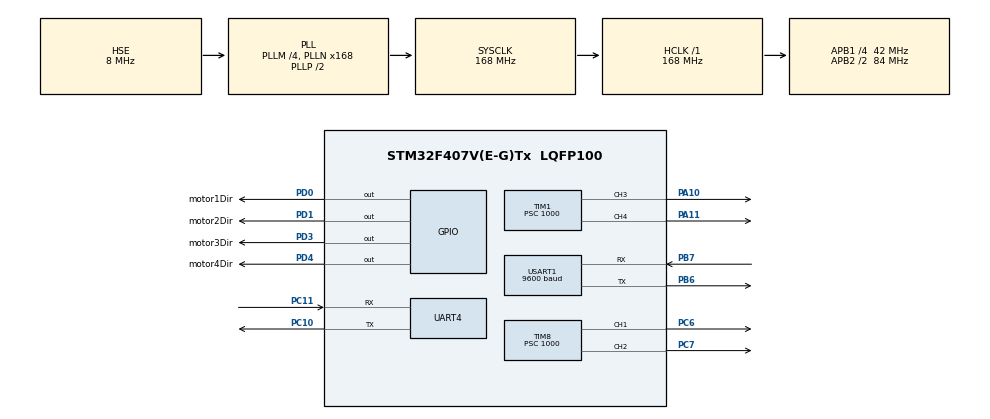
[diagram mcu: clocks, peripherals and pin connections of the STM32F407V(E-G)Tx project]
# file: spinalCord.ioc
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Dma.Request0=USART1_RX
Dma.USART1_RX.0.Direction=DMA_PERIPH_TO_MEMORY
Dma.USART1_RX.0.FIFOMode=DMA_FIFOMODE_DISABLE
Dma.USART1_RX.0.Instance=DMA2_Stream2
Dma.USART1_RX.0.MemDataAlignment=DMA_MDATAALIGN_BYTE
Dma.USART1_RX.0.MemInc=DMA_MINC_ENABLE
Dma.USART1_RX.0.Mode=DMA_CIRCULAR
Dma.USART1_RX.0.PeriphDataAlignment=DMA_PDATAALIGN_BYTE
Dma.USART1_RX.0.PeriphInc=DMA_PINC_DISABLE
Dma.USART1_RX.0.Priority=DMA_PRIORITY_LOW
Mcu.Family=STM32F4
Mcu.Name=STM32F407V(E-G)Tx
Mcu.Package=LQFP100
NVIC.DMA2_Stream2_IRQn=true\:0\:0\:false\:false\:true\:false\:true
NVIC.PriorityGroup=NVIC_PRIORITYGROUP_4
NVIC.UART4_IRQn=true\:0\:0\:false\:false\:true\:true\:true
NVIC.USART1_IRQn=true\:0\:0\:false\:false\:true\:true\:true
PA10.Signal=S_TIM1_CH3
PA11.Signal=S_TIM1_CH4
PB6.Mode=Asynchronous
PB6.Signal=USART1_TX
PB7.Mode=Asynchronous
PB7.Signal=USART1_RX
PC10.Mode=Asynchronous
PC10.Signal=UART4_TX
PC11.Mode=Asynchronous
PC11.Signal=UART4_RX
PC6.Signal=S_TIM8_CH1
PC7.Signal=S_TIM8_CH2
PD0.GPIO_Label=motor1Dir
PD0.Signal=GPIO_Output
PD1.GPIO_Label=motor2Dir
PD1.Signal=GPIO_Output
PD3.GPIO_Label=motor3Dir
PD3.Signal=GPIO_Output
PD4.GPIO_Label=motor4Dir
PD4.Signal=GPIO_Output
PH0-OSC_IN.Mode=HSE-External-Oscillator
PH0-OSC_IN.Signal=RCC_OSC_IN
PH1-OSC_OUT.Mode=HSE-External-Oscillator
PH1-OSC_OUT.Signal=RCC_OSC_OUT
ProjectManager.HeapSize=0x200
ProjectManager.StackSize=0x400
ProjectManager.TargetToolchain=STM32CubeIDE
RCC.48MHZClocksFreq_Value=84000000
RCC.AHBFreq_Value=168000000
RCC.APB1CLKDivider=RCC_HCLK_DIV4
RCC.APB1Freq_Value=42000000
RCC.APB1TimFreq_Value=84000000
RCC.APB2CLKDivider=RCC_HCLK_DIV2
RCC.APB2Freq_Value=84000000
RCC.APB2TimFreq_Value=168000000
RCC.CortexFreq_Value=168000000
RCC.HCLKFreq_Value=168000000
RCC.HSE_VALUE=8000000
RCC.HSI_VALUE=16000000
RCC.LSE_VALUE=32768
RCC.PLLM=4
RCC.PLLN=168
RCC.PLLSourceVirtual=RCC_PLLSOURCE_HSE
RCC.SYSCLKFreq_VALUE=168000000
RCC.SYSCLKSource=RCC_SYSCLKSOURCE_PLLCLK
RCC.VCOOutputFreq_Value=336000000
SH.S_TIM1_CH3.0=TIM1_CH3,PWM Generation3 CH3
SH.S_TIM1_CH4.0=TIM1_CH4,PWM Generation4 CH4
SH.S_TIM8_CH1.0=TIM8_CH1,PWM Generation1 CH1
SH.S_TIM8_CH2.0=TIM8_CH2,PWM Generation2 CH2
TIM1.BreakPolarity=TIM_BREAKPOLARITY_LOW
TIM1.Channel-PWM\ Generation3\ CH3=TIM_CHANNEL_3
TIM1.Channel-PWM\ Generation4\ CH4=TIM_CHANNEL_4
TIM1.OCPolarity_3=TIM_OCPOLARITY_LOW
TIM1.OCPolarity_4=TIM_OCPOLARITY_LOW
TIM1.Period=255
TIM1.Prescaler=1000
TIM8.BreakPolarity=TIM_BREAKPOLARITY_LOW
TIM8.Channel-PWM\ Generation1\ CH1=TIM_CHANNEL_1
TIM8.Channel-PWM\ Generation2\ CH2=TIM_CHANNEL_2
TIM8.OCPolarity_1=TIM_OCPOLARITY_LOW
TIM8.OCPolarity_2=TIM_OCPOLARITY_LOW
TIM8.Period=255
TIM8.Prescaler=1000
UART4.VirtualMode=Asynchronous
USART1.BaudRate=9600
USART1.VirtualMode=VM_ASYNC
VP_TIM1_VS_ClockSourceINT.Mode=Internal
board=custom

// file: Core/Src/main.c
/* USER CODE BEGIN Header */
/**
  ******************************************************************************
  * @file           : main.c
  * @brief          : Main program body
  ******************************************************************************
  * @attention
  *
  * <h2><center>&copy; Copyright (c) 2020 STMicroelectronics.
  * All rights reserved.</center></h2>
  *
  * This software component is licensed by ST under BSD 3-Clause license,
  * the "License"; You may not use this file except in compliance with the
  * License. You may obtain a copy of the License at:
  *                        opensource.org/licenses/BSD-3-Clause
  *
  ******************************************************************************
  */
/* USER CODE END Header */

#include "main.h"

/* USER CODE BEGIN Includes */
#include <stdlib.h>
/* USER CODE END Includes */

/* USER CODE BEGIN PD */
#define DRIVER_HY
#ifdef DRIVER_HY
uint16_t prescaler = 505;
#endif
#ifdef DRIVER_TGC
uint16_t prescaler = 83;
#endif
/* USER CODE END PD */

TIM_HandleTypeDef htim1;
TIM_HandleTypeDef htim8;

UART_HandleTypeDef huart4;
UART_HandleTypeDef huart1;
DMA_HandleTypeDef hdma_usart1_rx;

/* USER CODE BEGIN PV */
float a;
float b;
int tracking;
int16_t compassData;
int16_t i;
/* USER CODE END PV */

void SystemClock_Config(void);
static void MX_GPIO_Init(void);
static void MX_DMA_Init(void);
static void MX_USART1_UART_Init(void);
static void MX_TIM1_Init(void);
static void MX_TIM8_Init(void);
static void MX_UART4_Init(void);

/* USER CODE BEGIN 0 */
#include"DNL_SpinalCord_UART.h"
#include"DNL_SpinalCord_Motor.h"
#include"DNL_SpinalCord_Callback.h"
/* USER CODE END 0 */

int main(void)
{

  /* MCU Configuration--------------------------------------------------------*/

  /* Reset of all peripherals, Initializes the Flash interface and the Systick. */
  HAL_Init();

  /* Configure the system clock */
  SystemClock_Config();

  /* Initialize all configured peripherals */
  MX_GPIO_Init();
  MX_DMA_Init();
  MX_USART1_UART_Init();
  MX_TIM1_Init();
  MX_TIM8_Init();
  MX_UART4_Init();
  /* USER CODE BEGIN 2 */
  peripheralPWM_Init();
  peripheralUART_Init();
  HAL_Delay(INIT_TIME);
  /* USER CODE END 2 */

  /* Infinite loop */
  /* USER CODE BEGIN WHILE */
  while (1)
  {
	  ////////////////////////////////////////////////////////////////
//	  testPWM();

//	  brainRequest();
//	  brainGetData();
//	  controlMotor1(brainRxPacket[0], brainRxPacket[4]);
//	  controlMotor2(brainRxPacket[1], brainRxPacket[5]);
//	  controlMotor3(brainRxPacket[2], brainRxPacket[6]);
//	  controlMotor4(brainRxPacket[3], brainRxPacket[7]);

	  //OFFICIAL//////////////////////////////
	  controlMotor1(motor1Speed, motor1Dir);
	  controlMotor2(motor2Speed, motor2Dir);
	  controlMotor3(motor3Speed, motor3Dir);
	  controlMotor4(motor4Speed, motor4Dir);
	  /////////////////////////////////////////

//	  __HAL_TIM_SetCompare(&motor1, motor1_channel, 3);
//	  __HAL_TIM_SetCompare(&motor2, motor2_channel, 3);
//	  __HAL_TIM_SetCompare(&motor3, motor3_channel, 3);
//	  __HAL_TIM_SetCompare(&motor4, motor4_channel, 3);
//	  controlMotor1(3,0);
//	  controlMotor2(3,0);
//	  controlMotor3(3,0);
//	  controlMotor4(3,0);

//	  debugTxPacket[0] = motor1Speed;
//	  debugTxPacket[1] = motor2Speed;
//	  debugTxPacket[2] = motor3Speed;
//	  debugTxPacket[3] = motor4Speed;
//	  debugTxPacket[4] = motor1Dir;
//	  debugTxPacket[5] = motor2Dir;
//	  debugTxPacket[6] = motor3Dir;
//	  debugTxPacket[7] = motor4Dir;
//	  HAL_UART_Transmit(&huart4, debugTxPacket, 9, 50);
	  tracking++;
    /* USER CODE END WHILE */

  }
}

void SystemClock_Config(void)
{
  RCC_OscInitTypeDef RCC_OscInitStruct = {0};
  RCC_ClkInitTypeDef RCC_ClkInitStruct = {0};

  /** Configure the main internal regulator output voltage
  */
  __HAL_RCC_PWR_CLK_ENABLE();
  __HAL_PWR_VOLTAGESCALING_CONFIG(PWR_REGULATOR_VOLTAGE_SCALE1);
  /** Initializes the CPU, AHB and APB busses clocks
  */
  RCC_OscInitStruct.OscillatorType = RCC_OSCILLATORTYPE_HSE;
  RCC_OscInitStruct.HSEState = RCC_HSE_ON;
  RCC_OscInitStruct.PLL.PLLState = RCC_PLL_ON;
  RCC_OscInitStruct.PLL.PLLSource = RCC_PLLSOURCE_HSE;
  RCC_OscInitStruct.PLL.PLLM = 4;
  RCC_OscInitStruct.PLL.PLLN = 168;
  RCC_OscInitStruct.PLL.PLLP = RCC_PLLP_DIV2;
  RCC_OscInitStruct.PLL.PLLQ = 4;
  if (HAL_RCC_OscConfig(&RCC_OscInitStruct) != HAL_OK)
  {
    Error_Handler();
  }
  /** Initializes the CPU, AHB and APB busses clocks
  */
  RCC_ClkInitStruct.ClockType = RCC_CLOCKTYPE_HCLK|RCC_CLOCKTYPE_SYSCLK
                              |RCC_CLOCKTYPE_PCLK1|RCC_CLOCKTYPE_PCLK2;
  RCC_ClkInitStruct.SYSCLKSource = RCC_SYSCLKSOURCE_PLLCLK;
  RCC_ClkInitStruct.AHBCLKDivider = RCC_SYSCLK_DIV1;
  RCC_ClkInitStruct.APB1CLKDivider = RCC_HCLK_DIV4;
  RCC_ClkInitStruct.APB2CLKDivider = RCC_HCLK_DIV2;

  if (HAL_RCC_ClockConfig(&RCC_ClkInitStruct, FLASH_LATENCY_5) != HAL_OK)
  {
    Error_Handler();
  }
}

static void MX_TIM1_Init(void)
{

  TIM_ClockConfigTypeDef sClockSourceConfig = {0};
  TIM_MasterConfigTypeDef sMasterConfig = {0};
  TIM_OC_InitTypeDef sConfigOC = {0};
  TIM_BreakDeadTimeConfigTypeDef sBreakDeadTimeConfig = {0};

  htim1.Instance = TIM1;
  htim1.Init.Prescaler = 83;////////////////////////////////////////////////////////////////////////
  htim1.Init.CounterMode = TIM_COUNTERMODE_UP;
  htim1.Init.Period = 255;
  htim1.Init.ClockDivision = TIM_CLOCKDIVISION_DIV1;
  htim1.Init.RepetitionCounter = 0;
  htim1.Init.AutoReloadPreload = TIM_AUTORELOAD_PRELOAD_DISABLE;
  if (HAL_TIM_Base_Init(&htim1) != HAL_OK)
  {
    Error_Handler();
  }
  sClockSourceConfig.ClockSource = TIM_CLOCKSOURCE_INTERNAL;
  if (HAL_TIM_ConfigClockSource(&htim1, &sClockSourceConfig) != HAL_OK)
  {
    Error_Handler();
  }
  if (HAL_TIM_PWM_Init(&htim1) != HAL_OK)
  {
    Error_Handler();
  }
  sMasterConfig.MasterOutputTrigger = TIM_TRGO_RESET;
  sMasterConfig.MasterSlaveMode = TIM_MASTERSLAVEMODE_DISABLE;
  if (HAL_TIMEx_MasterConfigSynchronization(&htim1, &sMasterConfig) != HAL_OK)
  {
    Error_Handler();
  }
  sConfigOC.OCMode = TIM_OCMODE_PWM1;
  sConfigOC.Pulse = 0;
  sConfigOC.OCPolarity = TIM_OCPOLARITY_LOW;
  sConfigOC.OCNPolarity = TIM_OCNPOLARITY_HIGH;
  sConfigOC.OCFastMode = TIM_OCFAST_DISABLE;
  sConfigOC.OCIdleState = TIM_OCIDLESTATE_RESET;
  sConfigOC.OCNIdleState = TIM_OCNIDLESTATE_RESET;
  if (HAL_TIM_PWM_ConfigChannel(&htim1, &sConfigOC, TIM_CHANNEL_3) != HAL_OK)
  {
    Error_Handler();
  }
  if (HAL_TIM_PWM_ConfigChannel(&htim1, &sConfigOC, TIM_CHANNEL_4) != HAL_OK)
  {
    Error_Handler();
  }
  sBreakDeadTimeConfig.OffStateRunMode = TIM_OSSR_DISABLE;
  sBreakDeadTimeConfig.OffStateIDLEMode = TIM_OSSI_DISABLE;
  sBreakDeadTimeConfig.LockLevel = TIM_LOCKLEVEL_OFF;
  sBreakDeadTimeConfig.DeadTime = 0;
  sBreakDeadTimeConfig.BreakState = TIM_BREAK_DISABLE;
  sBreakDeadTimeConfig.BreakPolarity = TIM_BREAKPOLARITY_LOW;
  sBreakDeadTimeConfig.AutomaticOutput = TIM_AUTOMATICOUTPUT_DISABLE;
  if (HAL_TIMEx_ConfigBreakDeadTime(&htim1, &sBreakDeadTimeConfig) != HAL_OK)
  {
    Error_Handler();
  }
  HAL_TIM_MspPostInit(&htim1);

}

static void MX_TIM8_Init(void)
{

  TIM_MasterConfigTypeDef sMasterConfig = {0};
  TIM_OC_InitTypeDef sConfigOC = {0};
  TIM_BreakDeadTimeConfigTypeDef sBreakDeadTimeConfig = {0};

  htim8.Instance = TIM8;
  htim8.Init.Prescaler = 83;/////////////////////////////////////////////////////
  htim8.Init.CounterMode = TIM_COUNTERMODE_UP;
  htim8.Init.Period = 255;
  htim8.Init.ClockDivision = TIM_CLOCKDIVISION_DIV1;
  htim8.Init.RepetitionCounter = 0;
  htim8.Init.AutoReloadPreload = TIM_AUTORELOAD_PRELOAD_DISABLE;
  if (HAL_TIM_PWM_Init(&htim8) != HAL_OK)
  {
    Error_Handler();
  }
  sMasterConfig.MasterOutputTrigger = TIM_TRGO_RESET;
  sMasterConfig.MasterSlaveMode = TIM_MASTERSLAVEMODE_DISABLE;
  if (HAL_TIMEx_MasterConfigSynchronization(&htim8, &sMasterConfig) != HAL_OK)
  {
    Error_Handler();
  }
  sConfigOC.OCMode = TIM_OCMODE_PWM1;
  sConfigOC.Pulse = 0;
  sConfigOC.OCPolarity = TIM_OCPOLARITY_LOW;
  sConfigOC.OCNPolarity = TIM_OCNPOLARITY_HIGH;
  sConfigOC.OCFastMode = TIM_OCFAST_DISABLE;
  sConfigOC.OCIdleState = TIM_OCIDLESTATE_RESET;
  sConfigOC.OCNIdleState = TIM_OCNIDLESTATE_RESET;
  if (HAL_TIM_PWM_ConfigChannel(&htim8, &sConfigOC, TIM_CHANNEL_1) != HAL_OK)
  {
    Error_Handler();
  }
  if (HAL_TIM_PWM_ConfigChannel(&htim8, &sConfigOC, TIM_CHANNEL_2) != HAL_OK)
  {
    Error_Handler();
  }
  sBreakDeadTimeConfig.OffStateRunMode = TIM_OSSR_DISABLE;
  sBreakDeadTimeConfig.OffStateIDLEMode = TIM_OSSI_DISABLE;
  sBreakDeadTimeConfig.LockLevel = TIM_LOCKLEVEL_OFF;
  sBreakDeadTimeConfig.DeadTime = 0;
  sBreakDeadTimeConfig.BreakState = TIM_BREAK_DISABLE;
  sBreakDeadTimeConfig.BreakPolarity = TIM_BREAKPOLARITY_LOW;
  sBreakDeadTimeConfig.AutomaticOutput = TIM_AUTOMATICOUTPUT_DISABLE;
  if (HAL_TIMEx_ConfigBreakDeadTime(&htim8, &sBreakDeadTimeConfig) != HAL_OK)
  {
    Error_Handler();
  }
  HAL_TIM_MspPostInit(&htim8);

}

static void MX_UART4_Init(void)
{

  huart4.Instance = UART4;
  huart4.Init.BaudRate = 115200;
  huart4.Init.WordLength = UART_WORDLENGTH_8B;
  huart4.Init.StopBits = UART_STOPBITS_1;
  huart4.Init.Parity = UART_PARITY_NONE;
  huart4.Init.Mode = UART_MODE_TX_RX;
  huart4.Init.HwFlowCtl = UART_HWCONTROL_NONE;
  huart4.Init.OverSampling = UART_OVERSAMPLING_16;
  if (HAL_UART_Init(&huart4) != HAL_OK)
  {
    Error_Handler();
  }

}

static void MX_USART1_UART_Init(void)
{

  huart1.Instance = USART1;
  huart1.Init.BaudRate = 9600;
  huart1.Init.WordLength = UART_WORDLENGTH_8B;
  huart1.Init.StopBits = UART_STOPBITS_1;
  huart1.Init.Parity = UART_PARITY_NONE;
  huart1.Init.Mode = UART_MODE_TX_RX;
  huart1.Init.HwFlowCtl = UART_HWCONTROL_NONE;
  huart1.Init.OverSampling = UART_OVERSAMPLING_16;
  if (HAL_UART_Init(&huart1) != HAL_OK)
  {
    Error_Handler();
  }

}

static void MX_DMA_Init(void)
{

  /* DMA controller clock enable */
  __HAL_RCC_DMA2_CLK_ENABLE();

  /* DMA interrupt init */
  /* DMA2_Stream2_IRQn interrupt configuration */
  HAL_NVIC_SetPriority(DMA2_Stream2_IRQn, 0, 0);
  HAL_NVIC_EnableIRQ(DMA2_Stream2_IRQn);

}

static void MX_GPIO_Init(void)
{
  GPIO_InitTypeDef GPIO_InitStruct = {0};

  /* GPIO Ports Clock Enable */
  __HAL_RCC_GPIOH_CLK_ENABLE();
  __HAL_RCC_GPIOC_CLK_ENABLE();
  __HAL_RCC_GPIOA_CLK_ENABLE();
  __HAL_RCC_GPIOD_CLK_ENABLE();
  __HAL_RCC_GPIOB_CLK_ENABLE();

  /*Configure GPIO pin Output Level */
  HAL_GPIO_WritePin(GPIOD, motor1Dir_Pin|motor2Dir_Pin|motor3Dir_Pin|motor4Dir_Pin, GPIO_PIN_RESET);

  /*Configure GPIO pins : motor1Dir_Pin motor2Dir_Pin motor3Dir_Pin motor4Dir_Pin */
  GPIO_InitStruct.Pin = motor1Dir_Pin|motor2Dir_Pin|motor3Dir_Pin|motor4Dir_Pin;
  GPIO_InitStruct.Mode = GPIO_MODE_OUTPUT_PP;
  GPIO_InitStruct.Pull = GPIO_NOPULL;
  GPIO_InitStruct.Speed = GPIO_SPEED_FREQ_LOW;
  HAL_GPIO_Init(GPIOD, &GPIO_InitStruct);

}

void Error_Handler(void)
{
}

/************************ (C) COPYRIGHT STMicroelectronics *****END OF FILE****/
